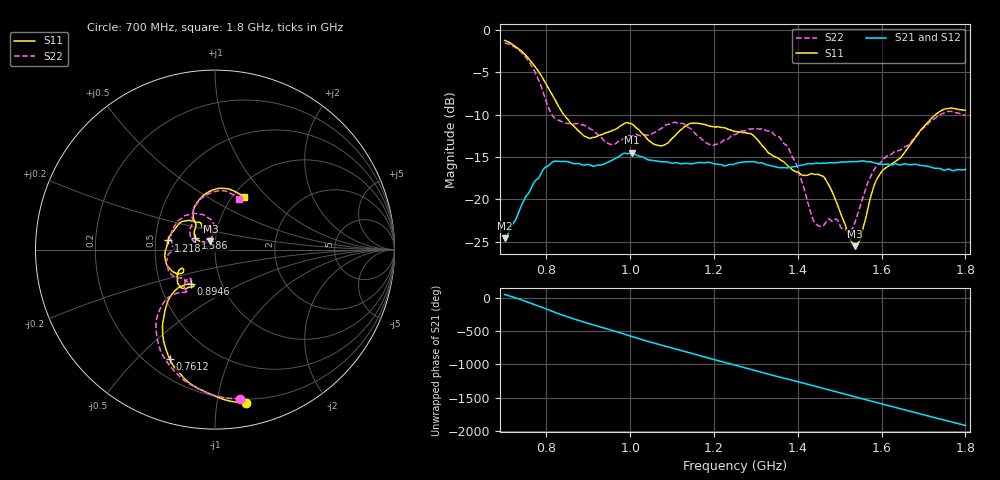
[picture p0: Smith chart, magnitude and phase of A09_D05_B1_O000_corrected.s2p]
! Created with skrf 1.9.0 (http://scikit-rf.org).
# Hz S RI R 50.0
!freq ReS11 ImS11 ReS21 ImS21 ReS12 ImS12 ReS22 ImS22
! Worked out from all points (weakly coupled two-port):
!   1601 points, 700 MHz to 1.8 GHz, reference 50 ohm
!   highest |S21| = -14.49 dB at 1.004 GHz (marker M1); lowest = -24.6 dB at 700.7 MHz (marker M2)
!   lowest |S11| = -25.5 dB at 1.536 GHz (marker M3), VSWR 1.11, Z = 47.3 + j4.4 ohm
!   |S11| at or under -10 dB: 841.6 MHz to 1.728 GHz (886.8 MHz wide, 69 % of centre)
!   |S22| runs from -24.0 to -1.5 dB; largest |S21 - S12| = 0.0035
!   S11 on the Smith chart (normalised r, x): 700 MHz: 0.17, -1.21; 761.2 MHz: 0.29, -0.63; 894.6 MHz: 0.72, -0.29; 1.218 GHz: 0.58, +0.06; 1.586 GHz: 0.80, +0.11; 1.8 GHz: 1.12, +0.75
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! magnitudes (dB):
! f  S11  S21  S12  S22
! 700 MHz  -1.2  -24.6  -24.4  -1.5
! 700.7 MHz  -1.2  -24.6  -24.3  -1.5
! 761.2 MHz  -3.6  -18.9  -18.8  -3.9
! 816.9 MHz  -7.9  -15.5  -15.6  -10.3
! 883.6 MHz  -12.2  -15.9  -15.8  -11.2
! 894.6 MHz  -12.6  -15.9  -16.0  -11.3
! 954.4 MHz  -11.9  -15.4  -15.4  -13.5
! 1.004 GHz  -11.1  -14.5  -14.6  -12.5
! 1.067 GHz  -13.6  -15.5  -15.5  -11.8
! 1.144 GHz  -11.0  -15.8  -15.8  -11.6
! 1.218 GHz  -11.5  -15.9  -15.9  -13.2
! 1.25 GHz  -12.0  -15.8  -15.7  -12.3
! 1.357 GHz  -15.3  -16.3  -16.2  -12.7
! 1.396 GHz  -16.7  -16.1  -16.1  -15.8
! 1.434 GHz  -17.0  -15.8  -15.8  -22.0
! 1.468 GHz  -17.8  -15.7  -15.7  -22.6
! 1.522 GHz  -24.4  -15.5  -15.5  -24.0
! 1.536 GHz  -25.5  -15.5  -15.5  -22.8
! 1.586 GHz  -17.9  -15.7  -15.7  -16.2
! 1.617 GHz  -16.0  -15.9  -15.8  -14.8
! 1.734 GHz  -9.8  -16.3  -16.4  -10.2
! 1.8 GHz  -9.5  -16.5  -16.5  -10.1
